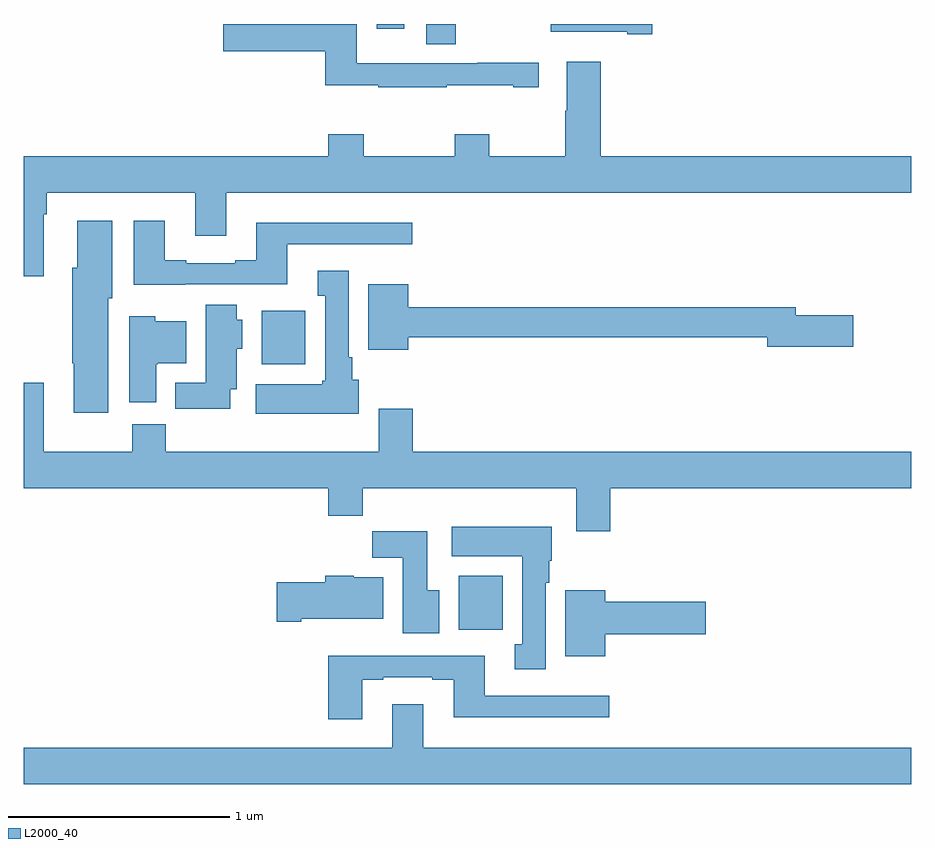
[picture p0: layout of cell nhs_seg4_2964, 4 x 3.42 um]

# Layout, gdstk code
import gdstk
lib = gdstk.Library(unit=1e-6, precision=1e-09)
def R(c, l, rs):  # rectangles x0, y0, x1, y1
    for r in rs: c.add(gdstk.rectangle(r[:2], r[2:], *l))
def P(c, l, *ps):  # polygons
    for p in ps: c.add(gdstk.Polygon(p, *l))
L2000_40 = (2000, 40)

nhs_seg4_2964 = lib.new_cell('nhs_seg4_2964')
R(nhs_seg4_2964, L2000_40, [(268.961,808.172,269.158,808.414), (268.073,809.366,268.27,809.608), (268.814,810.808,268.948,810.9), (268.592,810.879,268.714,810.9)])
P(nhs_seg4_2964, L2000_40, [(268.907,810.625),(269.207,810.625),(269.207,810.615),(269.32,810.615),(269.32,810.725),(269.044,810.725),(269.044,810.723),(268.71,810.723),(268.71,810.724),(268.5,810.724),(268.5,810.9),(267.9,810.9),(267.9,810.778),(268.358,810.778),(268.358,810.625),(268.597,810.625),(268.597,810.615),(268.907,810.615)],
  [(269.833,810.9),(269.375,810.9),(269.375,810.866),(269.72,810.866),(269.72,810.854),(269.833,810.854)],
  [(267.091,810.044),(267.104,810.044),(267.104,810.14),(267.773,810.14),(267.773,809.946),(267.913,809.946),(267.913,810.14),(271,810.14),(271,810.304),(269.6,810.304),(269.6,810.73),(269.447,810.73),(269.447,810.509),(269.44,810.509),(269.44,810.304),(269.097,810.304),(269.097,810.403),(268.942,810.403),(268.942,810.304),(268.533,810.304),(268.533,810.403),(268.373,810.403),(268.373,810.304),(267,810.304),(267,809.763),(267.091,809.763)],
  [(267.729,809.727),(268.189,809.727),(268.189,809.907),(268.75,809.907),(268.75,810.004),(268.049,810.004),(268.049,809.836),(267.953,809.836),(267.953,809.823),(267.733,809.823),(267.733,809.836),(267.637,809.836),(267.637,810.013),(267.497,810.013),(267.497,809.726),(267.729,809.726)],
  [(267.382,809.664),(267.4,809.664),(267.4,810.013),(267.242,810.013),(267.242,809.802),(267.22,809.802),(267.22,809.371),(267.227,809.371),(267.227,809.148),(267.382,809.148)],
  [(268.51,809.298),(268.48,809.298),(268.48,809.398),(268.465,809.398),(268.465,809.788),(268.325,809.788),(268.325,809.675),(268.358,809.675),(268.358,809.292),(268.345,809.292),(268.345,809.278),(268.046,809.278),(268.046,809.144),(268.51,809.144)],
  [(268.732,809.488),(270.35,809.488),(270.35,809.446),(270.739,809.446),(270.739,809.588),(270.478,809.588),(270.478,809.624),(268.732,809.624),(268.732,809.728),(268.553,809.728),(268.553,809.432),(268.732,809.432)],
  [(267.931,809.255),(267.961,809.255),(267.961,809.436),(267.985,809.436),(267.985,809.568),(267.961,809.568),(267.961,809.635),(267.821,809.635),(267.821,809.284),(267.683,809.284),(267.683,809.166),(267.931,809.166)],
  [(267.598,809.366),(267.604,809.366),(267.604,809.372),(267.733,809.372),(267.733,809.56),(267.594,809.56),(267.594,809.584),(267.476,809.584),(267.476,809.196),(267.598,809.196)],
  [(269.642,808.808),(271,808.808),(271,808.972),(268.754,808.972),(268.754,809.167),(268.601,809.167),(268.601,808.972),(267.641,808.972),(267.641,809.096),(267.49,809.096),(267.49,808.972),(267.091,808.972),(267.091,809.284),(267,809.284),(267,808.808),(268.373,808.808),(268.373,808.684),(268.529,808.684),(268.529,808.808),(269.489,808.808),(269.489,808.614),(269.642,808.614)],
  [(269.353,808.382),(269.368,808.382),(269.368,808.482),(269.38,808.482),(269.38,808.636),(268.929,808.636),(268.929,808.502),(269.246,808.502),(269.246,808.106),(269.213,808.106),(269.213,807.993),(269.353,807.993)],
  [(268.873,808.348),(268.819,808.348),(268.819,808.615),(268.57,808.615),(268.57,808.496),(268.709,808.496),(268.709,808.155),(268.873,808.155)],
  [(268.252,808.22),(268.621,808.22),(268.621,808.408),(268.488,808.408),(268.488,808.414),(268.358,808.414),(268.358,808.386),(268.14,808.386),(268.14,808.208),(268.252,808.208)],
  [(269.62,808.151),(270.073,808.151),(270.073,808.298),(269.62,808.298),(269.62,808.348),(269.441,808.348),(269.441,808.052),(269.62,808.052)],
  [(268.525,807.945),(268.621,807.945),(268.621,807.957),(268.841,807.957),(268.841,807.945),(268.937,807.945),(268.937,807.776),(269.638,807.776),(269.638,807.873),(269.077,807.873),(269.077,808.053),(268.613,808.053),(268.613,808.054),(268.373,808.054),(268.373,807.768),(268.525,807.768)],
  [(271,807.64),(268.801,807.64),(268.801,807.835),(268.661,807.835),(268.661,807.64),(267,807.64),(267,807.476),(271,807.476)])

lib.write_gds('nhs_seg4_2964.gds')
